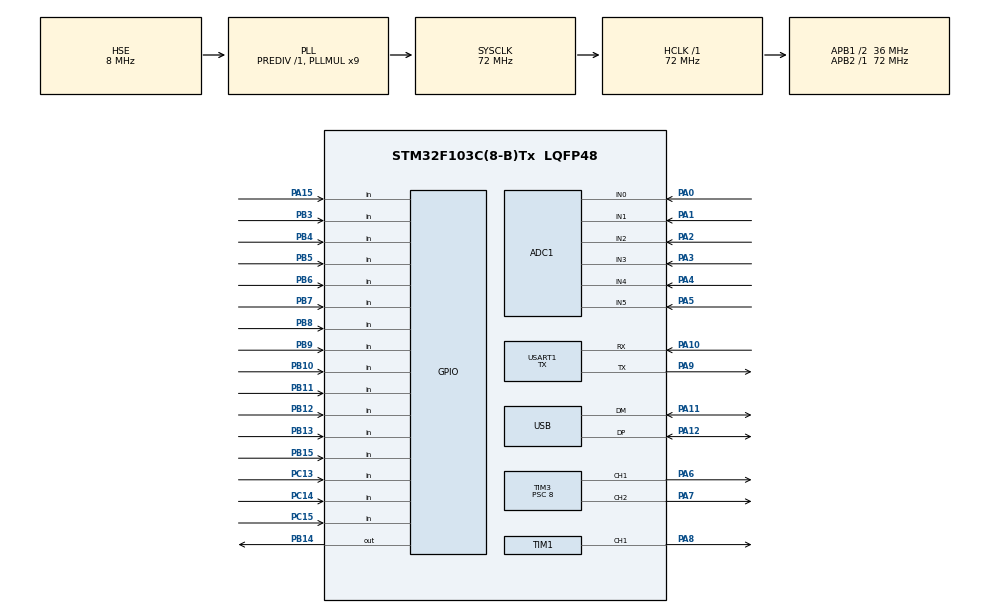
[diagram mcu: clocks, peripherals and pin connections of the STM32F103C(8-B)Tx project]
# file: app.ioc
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ADC1.Channel-0\#ChannelRegularConversion=ADC_CHANNEL_0
ADC1.Channel-1\#ChannelRegularConversion=ADC_CHANNEL_1
ADC1.Channel-2\#ChannelRegularConversion=ADC_CHANNEL_2
ADC1.Channel-3\#ChannelRegularConversion=ADC_CHANNEL_3
ADC1.Channel-4\#ChannelRegularConversion=ADC_CHANNEL_4
ADC1.Channel-5\#ChannelRegularConversion=ADC_CHANNEL_5
ADC1.ContinuousConvMode=ENABLE
ADC1.NbrOfConversion=6
ADC1.NbrOfConversionFlag=1
ADC1.Rank-0\#ChannelRegularConversion=1
ADC1.Rank-1\#ChannelRegularConversion=2
ADC1.Rank-2\#ChannelRegularConversion=3
ADC1.Rank-3\#ChannelRegularConversion=4
ADC1.Rank-4\#ChannelRegularConversion=5
ADC1.Rank-5\#ChannelRegularConversion=6
ADC1.SamplingTime-0\#ChannelRegularConversion=ADC_SAMPLETIME_239CYCLES_5
ADC1.SamplingTime-1\#ChannelRegularConversion=ADC_SAMPLETIME_239CYCLES_5
ADC1.SamplingTime-2\#ChannelRegularConversion=ADC_SAMPLETIME_239CYCLES_5
ADC1.SamplingTime-3\#ChannelRegularConversion=ADC_SAMPLETIME_239CYCLES_5
ADC1.SamplingTime-4\#ChannelRegularConversion=ADC_SAMPLETIME_239CYCLES_5
ADC1.SamplingTime-5\#ChannelRegularConversion=ADC_SAMPLETIME_239CYCLES_5
ADC1.master=1
Dma.ADC1.0.Direction=DMA_PERIPH_TO_MEMORY
Dma.ADC1.0.Instance=DMA1_Channel1
Dma.ADC1.0.MemDataAlignment=DMA_MDATAALIGN_HALFWORD
Dma.ADC1.0.MemInc=DMA_MINC_ENABLE
Dma.ADC1.0.Mode=DMA_CIRCULAR
Dma.ADC1.0.PeriphDataAlignment=DMA_PDATAALIGN_HALFWORD
Dma.ADC1.0.PeriphInc=DMA_PINC_DISABLE
Dma.ADC1.0.Priority=DMA_PRIORITY_LOW
Dma.Request0=ADC1
Mcu.Family=STM32F1
Mcu.Name=STM32F103C(8-B)Tx
Mcu.Package=LQFP48
NVIC.DMA1_Channel1_IRQn=true\:0\:0\:true\:false\:true\:false\:true\:true
NVIC.PriorityGroup=NVIC_PRIORITYGROUP_2
NVIC.USART1_IRQn=true\:3\:0\:true\:false\:true\:true\:true\:true
NVIC.USB_LP_CAN1_RX0_IRQn=true\:1\:0\:true\:false\:true\:false\:true\:true
PA0-WKUP.Signal=ADCx_IN0
PA1.Signal=ADCx_IN1
PA10.Mode=Asynchronous
PA10.Signal=USART1_RX
PA11.Mode=Device
PA11.Signal=USB_DM
PA12.Mode=Device
PA12.Signal=USB_DP
PA15.GPIO_PuPd=GPIO_PULLDOWN
PA15.Signal=GPIO_Input
PA2.Signal=ADCx_IN2
PA3.Signal=ADCx_IN3
PA4.Signal=ADCx_IN4
PA5.Signal=ADCx_IN5
PA6.Signal=S_TIM3_CH1
PA7.Signal=S_TIM3_CH2
PA8.Signal=S_TIM1_CH1
PA9.Mode=Asynchronous
PA9.Signal=USART1_TX
PB10.GPIO_PuPd=GPIO_PULLDOWN
PB10.Signal=GPIO_Input
PB11.GPIO_PuPd=GPIO_PULLDOWN
PB11.Signal=GPIO_Input
PB12.GPIO_PuPd=GPIO_PULLDOWN
PB12.Signal=GPIO_Input
PB13.GPIO_PuPd=GPIO_PULLDOWN
PB13.Signal=GPIO_Input
PB14.GPIO_PuPd=GPIO_PULLUP
PB14.Signal=GPIO_Output
PB15.GPIO_PuPd=GPIO_PULLDOWN
PB15.Signal=GPIO_Input
PB3.GPIO_PuPd=GPIO_PULLDOWN
PB3.Signal=GPIO_Input
PB4.GPIO_PuPd=GPIO_PULLDOWN
PB4.Signal=GPIO_Input
PB5.GPIO_PuPd=GPIO_PULLDOWN
PB5.Signal=GPIO_Input
PB6.GPIO_PuPd=GPIO_PULLDOWN
PB6.Signal=GPIO_Input
PB7.GPIO_PuPd=GPIO_PULLDOWN
PB7.Signal=GPIO_Input
PB8.GPIO_PuPd=GPIO_PULLDOWN
PB8.Signal=GPIO_Input
PB9.GPIO_PuPd=GPIO_PULLDOWN
PB9.Signal=GPIO_Input
PC13-TAMPER-RTC.GPIO_PuPd=GPIO_PULLDOWN
PC13-TAMPER-RTC.Signal=GPIO_Input
PC14-OSC32_IN.GPIO_PuPd=GPIO_PULLDOWN
PC14-OSC32_IN.Signal=GPIO_Input
PC15-OSC32_OUT.GPIO_PuPd=GPIO_PULLDOWN
PC15-OSC32_OUT.Signal=GPIO_Input
PD0-OSC_IN.Mode=HSE-External-Oscillator
PD0-OSC_IN.Signal=RCC_OSC_IN
PD1-OSC_OUT.Mode=HSE-External-Oscillator
PD1-OSC_OUT.Signal=RCC_OSC_OUT
ProjectManager.HeapSize=0x200
ProjectManager.StackSize=0x400
ProjectManager.TargetToolchain=MDK-ARM V5.32
RCC.ADCPresc=RCC_ADCPCLK2_DIV8
RCC.AHBFreq_Value=72000000
RCC.APB1CLKDivider=RCC_HCLK_DIV2
RCC.APB1Freq_Value=36000000
RCC.APB1TimFreq_Value=72000000
RCC.APB2Freq_Value=72000000
RCC.APB2TimFreq_Value=72000000
RCC.HCLKFreq_Value=72000000
RCC.PLLMUL=RCC_PLL_MUL9
RCC.PLLSourceVirtual=RCC_PLLSOURCE_HSE
RCC.SYSCLKFreq_VALUE=72000000
RCC.SYSCLKSource=RCC_SYSCLKSOURCE_PLLCLK
RCC.USBFreq_Value=48000000
RCC.USBPrescaler=RCC_USBCLKSOURCE_PLL_DIV1_5
SH.ADCx_IN0.0=ADC1_IN0,IN0
SH.ADCx_IN1.0=ADC1_IN1,IN1
SH.ADCx_IN2.0=ADC1_IN2,IN2
SH.ADCx_IN3.0=ADC1_IN3,IN3
SH.ADCx_IN4.0=ADC1_IN4,IN4
SH.ADCx_IN5.0=ADC1_IN5,IN5
SH.S_TIM1_CH1.0=TIM1_CH1,PWM Generation1 CH1
SH.S_TIM3_CH1.0=TIM3_CH1,PWM Generation1 CH1
SH.S_TIM3_CH2.0=TIM3_CH2,PWM Generation2 CH2
TIM1.Channel-PWM\ Generation1\ CH1=TIM_CHANNEL_1
TIM1.OCFastMode_PWM-PWM\ Generation1\ CH1=TIM_OCFAST_ENABLE
TIM1.OCIdleState_1=TIM_OCIDLESTATE_RESET
TIM1.Period=999
TIM1.Prescaler=71
TIM3.Channel-PWM\ Generation1\ CH1=TIM_CHANNEL_1
TIM3.Channel-PWM\ Generation2\ CH2=TIM_CHANNEL_2
TIM3.OCFastMode_PWM-PWM\ Generation1\ CH1=TIM_OCFAST_ENABLE
TIM3.OCFastMode_PWM-PWM\ Generation2\ CH2=TIM_OCFAST_ENABLE
TIM3.Period=999
TIM3.Prescaler=8
USART1.Mode=MODE_TX
USART1.VirtualMode=VM_ASYNC
USB.low_power_enable=DISABLE
USB_DEVICE.CLASS_NAME_FS=HID
USB_DEVICE.MANUFACTURER_STRING=Lyj
USB_DEVICE.VirtualMode=Hid
USB_DEVICE.VirtualModeFS=Hid_FS
VP_SYS_VS_ND.Mode=No_Debug
VP_TIM1_VS_ClockSourceINT.Mode=Internal
VP_TIM3_VS_ClockSourceINT.Mode=Internal
VP_USB_DEVICE_VS_USB_DEVICE_HID_FS.Mode=HID_FS
board=custom

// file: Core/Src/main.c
/* USER CODE BEGIN Header */
/**
  ******************************************************************************
  * @file           : main.c
  * @brief          : Main program body
  ******************************************************************************
  * @attention
  *
  * Copyright (c) 2023 STMicroelectronics.
  * All rights reserved.
  *
  * This software is licensed under terms that can be found in the LICENSE file
  * in the root directory of this software component.
  * If no LICENSE file comes with this software, it is provided AS-IS.
  *
  ******************************************************************************
  */
/* USER CODE END Header */
#include "main.h"
#include "adc.h"
#include "dma.h"
#include "tim.h"
#include "usart.h"
#include "usb_device.h"
#include "gpio.h"

/* USER CODE BEGIN Includes */
#include "systime.h"
#include "cl_log.h"
#include "cl_event_system.h"
#include "pad_func.h"
#include "led.h"
#include "button.h"
/* USER CODE END Includes */

void SystemClock_Config(void);

/* USER CODE BEGIN 0 */
static void UsbFakePlug(void)
{
  LL_APB2_GRP1_EnableClock(LL_APB2_GRP1_PERIPH_GPIOA);
  LL_GPIO_ResetOutputPin(GPIOA, LL_GPIO_PIN_12);

  LL_GPIO_InitTypeDef GPIO_InitStruct = {0};
  GPIO_InitStruct.Pin = LL_GPIO_PIN_12;
  GPIO_InitStruct.Mode = LL_GPIO_MODE_OUTPUT;
  GPIO_InitStruct.Speed = LL_GPIO_SPEED_FREQ_LOW;
  GPIO_InitStruct.OutputType = LL_GPIO_OUTPUT_OPENDRAIN;
  GPIO_InitStruct.Pull = LL_GPIO_PULL_UP;
  LL_GPIO_Init(GPIOA, &GPIO_InitStruct);

  LL_GPIO_ResetOutputPin(GPIOA, LL_GPIO_PIN_12);
  HAL_Delay(100);
  LL_GPIO_SetOutputPin(GPIOA, LL_GPIO_PIN_12);
}
/* USER CODE END 0 */

int main(void)
{
  /* USER CODE BEGIN 1 */
  CL_EventSysInit();
  /* USER CODE END 1 */

  /* MCU Configuration--------------------------------------------------------*/

  /* Reset of all peripherals, Initializes the Flash interface and the Systick. */
  HAL_Init();

  /* Configure the system clock */
  SystemClock_Config();

  /* USER CODE BEGIN SysInit */
  UsbFakePlug();
  /* USER CODE END SysInit */

  /* Initialize all configured peripherals */
  MX_GPIO_Init();
  MX_DMA_Init();
  MX_USART1_UART_Init();
  MX_USB_DEVICE_Init();
  MX_ADC1_Init();
  MX_TIM3_Init();
  MX_TIM1_Init();
  /* USER CODE BEGIN 2 */
  HAL_TIM_PWM_Start(&htim3, TIM_CHANNEL_1);
  HAL_TIM_PWM_Start(&htim3, TIM_CHANNEL_2);
  HAL_TIM_PWM_Start(&htim1, TIM_CHANNEL_1);
  /* USER CODE END 2 */

  /* Infinite loop */
  /* USER CODE BEGIN WHILE */
  Button_Init();
  Led_Init();
  PadFunc_Init();
  while (1)
  {
    Button_Process();
    Led_Process();
    PadFunc_Process();
    /* USER CODE END WHILE */

    /* USER CODE BEGIN 3 */
    static uint32_t lastTime = 0;
    if (SysTimeSpan(lastTime) >= 1000)
    {
      lastTime = GetSysTime();
      // CL_LOG_INFO("app2: %us", lastTime / 1000);
    }
  }
  /* USER CODE END 3 */
}

void SystemClock_Config(void)
{
  RCC_OscInitTypeDef RCC_OscInitStruct = {0};
  RCC_ClkInitTypeDef RCC_ClkInitStruct = {0};
  RCC_PeriphCLKInitTypeDef PeriphClkInit = {0};

  /** Initializes the RCC Oscillators according to the specified parameters
  * in the RCC_OscInitTypeDef structure.
  */
  RCC_OscInitStruct.OscillatorType = RCC_OSCILLATORTYPE_HSE;
  RCC_OscInitStruct.HSEState = RCC_HSE_ON;
  RCC_OscInitStruct.HSEPredivValue = RCC_HSE_PREDIV_DIV1;
  RCC_OscInitStruct.HSIState = RCC_HSI_ON;
  RCC_OscInitStruct.PLL.PLLState = RCC_PLL_ON;
  RCC_OscInitStruct.PLL.PLLSource = RCC_PLLSOURCE_HSE;
  RCC_OscInitStruct.PLL.PLLMUL = RCC_PLL_MUL9;
  if (HAL_RCC_OscConfig(&RCC_OscInitStruct) != HAL_OK)
  {
    Error_Handler();
  }

  /** Initializes the CPU, AHB and APB buses clocks
  */
  RCC_ClkInitStruct.ClockType = RCC_CLOCKTYPE_HCLK|RCC_CLOCKTYPE_SYSCLK
                              |RCC_CLOCKTYPE_PCLK1|RCC_CLOCKTYPE_PCLK2;
  RCC_ClkInitStruct.SYSCLKSource = RCC_SYSCLKSOURCE_PLLCLK;
  RCC_ClkInitStruct.AHBCLKDivider = RCC_SYSCLK_DIV1;
  RCC_ClkInitStruct.APB1CLKDivider = RCC_HCLK_DIV2;
  RCC_ClkInitStruct.APB2CLKDivider = RCC_HCLK_DIV1;

  if (HAL_RCC_ClockConfig(&RCC_ClkInitStruct, FLASH_LATENCY_2) != HAL_OK)
  {
    Error_Handler();
  }
  PeriphClkInit.PeriphClockSelection = RCC_PERIPHCLK_ADC|RCC_PERIPHCLK_USB;
  PeriphClkInit.AdcClockSelection = RCC_ADCPCLK2_DIV8;
  PeriphClkInit.UsbClockSelection = RCC_USBCLKSOURCE_PLL_DIV1_5;
  if (HAL_RCCEx_PeriphCLKConfig(&PeriphClkInit) != HAL_OK)
  {
    Error_Handler();
  }
}

void Error_Handler(void)
{
  __disable_irq();
  while (1)
  {
  }
}
